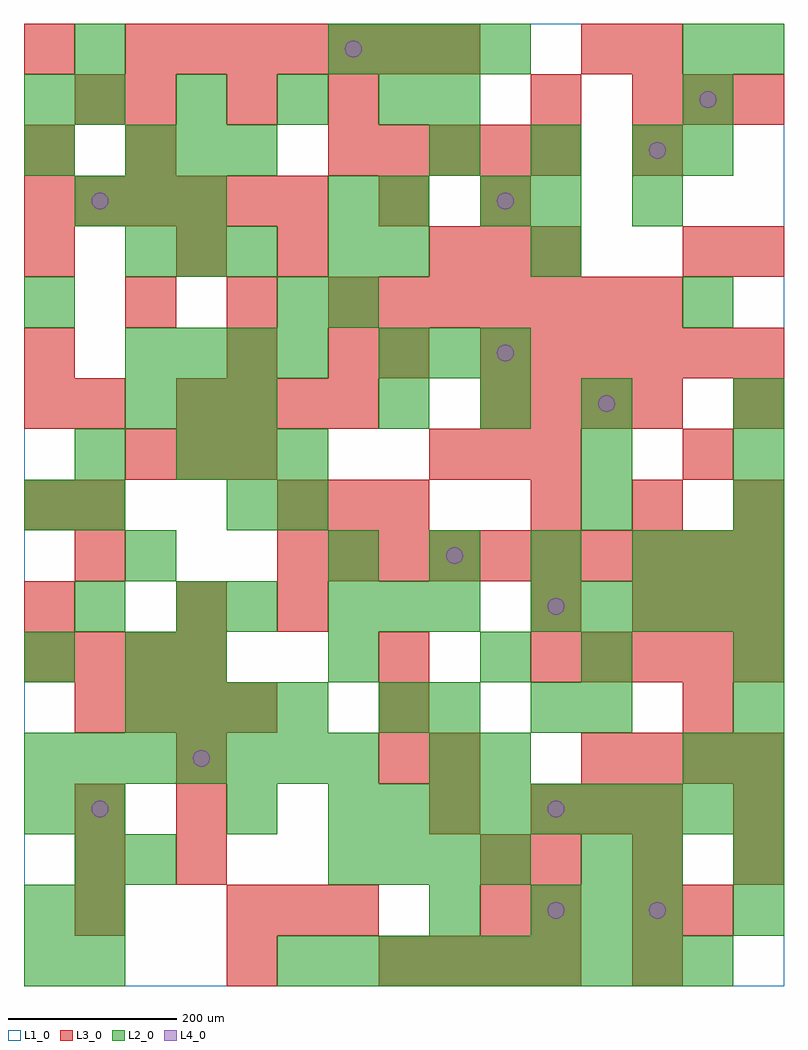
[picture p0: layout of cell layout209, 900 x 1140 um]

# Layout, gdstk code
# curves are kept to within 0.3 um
import gdstk
lib = gdstk.Library(unit=1e-6, precision=1e-09)
def R(c, l, rs):  # rectangles x0, y0, x1, y1
    for r in rs: c.add(gdstk.rectangle(r[:2], r[2:], *l))
def A(c, l, x, y, w, h, nx, ny, dx, dy):  # array of equal rectangles
    R(c, l, [(x+i*dx, y+j*dy, x+i*dx+w, y+j*dy+h) for i in range(nx) for j in range(ny)])
def P(c, l, *ps):  # polygons
    for p in ps: c.add(gdstk.Polygon(p, *l))
L1_0 = (1, 0)
L2_0 = (2, 0)
L3_0 = (3, 0)
L4_0 = (4, 0)

layout209 = lib.new_cell('layout209')
R(layout209, L1_0, [(0,0,900,1140)])
A(layout209, L2_0, 60, 0, 60, 60, 1, 4, 0, 60)
A(layout209, L2_0, 300, 0, 60, 60, 9, 1, 60, 0)
A(layout209, L2_0, 600, 60, 60, 60, 3, 1, 60, 0)
A(layout209, L2_0, 360, 120, 60, 60, 4, 2, 60, 960)
A(layout209, L2_0, 0, 180, 60, 60, 1, 3, 0, 180)
A(layout209, L2_0, 360, 180, 60, 60, 9, 1, 60, 0)
A(layout209, L2_0, 0, 240, 60, 60, 7, 1, 60, 0)
A(layout209, L2_0, 840, 240, 60, 60, 1, 3, 0, 60)
A(layout209, L2_0, 120, 300, 60, 60, 4, 2, 60, 420)
A(layout209, L2_0, 180, 360, 60, 60, 3, 1, 180, 0)
A(layout209, L2_0, 360, 420, 60, 60, 3, 1, 60, 0)
A(layout209, L2_0, 600, 420, 60, 60, 5, 1, 60, 0)
A(layout209, L2_0, 360, 480, 60, 60, 4, 1, 120, 0)
A(layout209, L2_0, 840, 480, 60, 60, 1, 4, 0, 60)
A(layout209, L2_0, 180, 600, 60, 60, 3, 1, 60, 0)
A(layout209, L2_0, 120, 660, 60, 60, 3, 2, 60, 180)
A(layout209, L2_0, 420, 660, 60, 60, 3, 1, 120, 0)
A(layout209, L2_0, 420, 720, 60, 60, 3, 1, 60, 0)
A(layout209, L2_0, 360, 780, 60, 60, 1, 3, 0, 60)
A(layout209, L2_0, 60, 900, 60, 60, 3, 1, 60, 0)
A(layout209, L2_0, 120, 960, 60, 60, 3, 1, 60, 0)
A(layout209, L2_0, 480, 960, 60, 60, 3, 1, 120, 0)
A(layout209, L2_0, 780, 960, 60, 60, 1, 3, 0, 60)
A(layout209, L2_0, 60, 1020, 60, 60, 4, 1, 120, 0)
R(layout209, L2_0, [(0,0,60,60), (0,60,60,120), (480,60,540,120), (840,60,900,120), (120,120,180,180), (660,120,720,180), (720,120,780,180), (840,120,900,180), (240,180,300,240), (480,240,540,300), (540,240,600,300), (780,240,840,300), (420,300,480,360), (480,300,540,360), (600,300,660,360), (660,300,720,360), (120,360,180,420), (660,360,720,420), (60,420,120,480), (180,420,240,480), (240,420,300,480), (120,480,180,540), (780,480,840,540), (60,540,120,600), (240,540,300,600), (300,540,360,600), (660,540,720,600), (60,600,120,660), (660,600,720,660), (0,780,60,840), (300,780,360,840), (780,780,840,840), (420,840,480,900), (600,840,660,900), (420,900,480,960), (540,900,600,960), (600,900,660,960), (720,900,780,960), (0,960,60,1020), (0,1020,60,1080), (480,1020,540,1080), (60,1080,120,1140), (840,1080,900,1140)])
A(layout209, L3_0, 420, 0, 60, 60, 4, 1, 60, 0)
A(layout209, L3_0, 60, 60, 60, 60, 1, 3, 0, 60)
A(layout209, L3_0, 240, 60, 60, 60, 3, 1, 60, 0)
A(layout209, L3_0, 180, 120, 60, 60, 1, 3, 0, 60)
A(layout209, L3_0, 600, 120, 60, 60, 3, 2, 120, 420)
A(layout209, L3_0, 600, 180, 60, 60, 3, 1, 60, 0)
A(layout209, L3_0, 420, 240, 60, 60, 1, 3, 0, 60)
A(layout209, L3_0, 660, 240, 60, 60, 4, 1, 60, 0)
A(layout209, L3_0, 60, 300, 60, 60, 4, 1, 60, 0)
A(layout209, L3_0, 0, 360, 60, 60, 4, 1, 60, 0)
A(layout209, L3_0, 600, 360, 60, 60, 5, 1, 60, 0)
A(layout209, L3_0, 0, 420, 60, 60, 1, 3, 0, 120)
A(layout209, L3_0, 720, 420, 60, 60, 3, 2, 60, 600)
A(layout209, L3_0, 300, 480, 60, 60, 10, 1, 60, 0)
A(layout209, L3_0, 300, 540, 60, 60, 3, 1, 60, 0)
A(layout209, L3_0, 120, 600, 60, 60, 3, 1, 60, 0)
A(layout209, L3_0, 480, 600, 60, 60, 3, 2, 60, 240)
A(layout209, L3_0, 180, 660, 60, 60, 4, 1, 60, 0)
A(layout209, L3_0, 540, 660, 60, 60, 4, 1, 60, 0)
A(layout209, L3_0, 0, 720, 60, 60, 1, 4, 0, 120)
A(layout209, L3_0, 540, 720, 60, 60, 6, 1, 60, 0)
A(layout209, L3_0, 120, 780, 60, 60, 3, 2, 120, 240)
A(layout209, L3_0, 420, 780, 60, 60, 6, 1, 60, 0)
A(layout209, L3_0, 0, 900, 60, 60, 6, 1, 60, 0)
A(layout209, L3_0, 360, 960, 60, 60, 5, 1, 60, 0)
A(layout209, L3_0, 120, 1080, 60, 60, 7, 1, 60, 0)
R(layout209, L3_0, [(240,0,300,60), (720,0,780,60), (540,60,600,120), (600,60,660,120), (720,60,780,120), (780,60,840,120), (540,120,600,180), (480,180,540,240), (840,180,900,240), (480,240,540,300), (780,300,840,360), (180,420,240,480), (300,420,360,480), (600,420,660,480), (60,480,120,540), (60,540,120,600), (780,600,840,660), (60,660,120,720), (840,660,900,720), (240,720,300,780), (360,720,420,780), (420,720,480,780), (180,840,240,900), (300,840,360,900), (780,840,840,900), (840,840,900,900), (420,900,480,960), (540,900,600,960), (120,960,180,1020), (720,960,780,1020), (60,1020,120,1080), (600,1020,660,1080), (660,1080,720,1140), (720,1080,780,1140)])
P(layout209, L4_0, [(100,210),(99.239,213.827),(97.071,217.071),(93.827,219.239),(90,220),(86.173,219.239),(82.929,217.071),(80.761,213.827),(80,210),(80.761,206.173),(82.929,202.929),(86.173,200.761),(90,200),(93.827,200.761),(97.071,202.929),(99.239,206.173)],
  [(100,930),(99.239,933.827),(97.071,937.071),(93.827,939.239),(90,940),(86.173,939.239),(82.929,937.071),(80.761,933.827),(80,930),(80.761,926.173),(82.929,922.929),(86.173,920.761),(90,920),(93.827,920.761),(97.071,922.929),(99.239,926.173)],
  [(220,270),(219.239,273.827),(217.071,277.071),(213.827,279.239),(210,280),(206.173,279.239),(202.929,277.071),(200.761,273.827),(200,270),(200.761,266.173),(202.929,262.929),(206.173,260.761),(210,260),(213.827,260.761),(217.071,262.929),(219.239,266.173)],
  [(400,1110),(399.239,1113.827),(397.071,1117.071),(393.827,1119.239),(390,1120),(386.173,1119.239),(382.929,1117.071),(380.761,1113.827),(380,1110),(380.761,1106.173),(382.929,1102.929),(386.173,1100.761),(390,1100),(393.827,1100.761),(397.071,1102.929),(399.239,1106.173)],
  [(520,510),(519.239,513.827),(517.071,517.071),(513.827,519.239),(510,520),(506.173,519.239),(502.929,517.071),(500.761,513.827),(500,510),(500.761,506.173),(502.929,502.929),(506.173,500.761),(510,500),(513.827,500.761),(517.071,502.929),(519.239,506.173)],
  [(580,750),(579.239,753.827),(577.071,757.071),(573.827,759.239),(570,760),(566.173,759.239),(562.929,757.071),(560.761,753.827),(560,750),(560.761,746.173),(562.929,742.929),(566.173,740.761),(570,740),(573.827,740.761),(577.071,742.929),(579.239,746.173)],
  [(580,930),(579.239,933.827),(577.071,937.071),(573.827,939.239),(570,940),(566.173,939.239),(562.929,937.071),(560.761,933.827),(560,930),(560.761,926.173),(562.929,922.929),(566.173,920.761),(570,920),(573.827,920.761),(577.071,922.929),(579.239,926.173)],
  [(640,90),(639.239,93.827),(637.071,97.071),(633.827,99.239),(630,100),(626.173,99.239),(622.929,97.071),(620.761,93.827),(620,90),(620.761,86.173),(622.929,82.929),(626.173,80.761),(630,80),(633.827,80.761),(637.071,82.929),(639.239,86.173)],
  [(640,210),(639.239,213.827),(637.071,217.071),(633.827,219.239),(630,220),(626.173,219.239),(622.929,217.071),(620.761,213.827),(620,210),(620.761,206.173),(622.929,202.929),(626.173,200.761),(630,200),(633.827,200.761),(637.071,202.929),(639.239,206.173)],
  [(640,450),(639.239,453.827),(637.071,457.071),(633.827,459.239),(630,460),(626.173,459.239),(622.929,457.071),(620.761,453.827),(620,450),(620.761,446.173),(622.929,442.929),(626.173,440.761),(630,440),(633.827,440.761),(637.071,442.929),(639.239,446.173)],
  [(700,690),(699.239,693.827),(697.071,697.071),(693.827,699.239),(690,700),(686.173,699.239),(682.929,697.071),(680.761,693.827),(680,690),(680.761,686.173),(682.929,682.929),(686.173,680.761),(690,680),(693.827,680.761),(697.071,682.929),(699.239,686.173)],
  [(760,90),(759.239,93.827),(757.071,97.071),(753.827,99.239),(750,100),(746.173,99.239),(742.929,97.071),(740.761,93.827),(740,90),(740.761,86.173),(742.929,82.929),(746.173,80.761),(750,80),(753.827,80.761),(757.071,82.929),(759.239,86.173)],
  [(760,990),(759.239,993.827),(757.071,997.071),(753.827,999.239),(750,1000),(746.173,999.239),(742.929,997.071),(740.761,993.827),(740,990),(740.761,986.173),(742.929,982.929),(746.173,980.761),(750,980),(753.827,980.761),(757.071,982.929),(759.239,986.173)],
  [(820,1050),(819.239,1053.827),(817.071,1057.071),(813.827,1059.239),(810,1060),(806.173,1059.239),(802.929,1057.071),(800.761,1053.827),(800,1050),(800.761,1046.173),(802.929,1042.929),(806.173,1040.761),(810,1040),(813.827,1040.761),(817.071,1042.929),(819.239,1046.173)])

lib.write_gds('layout209.gds')
